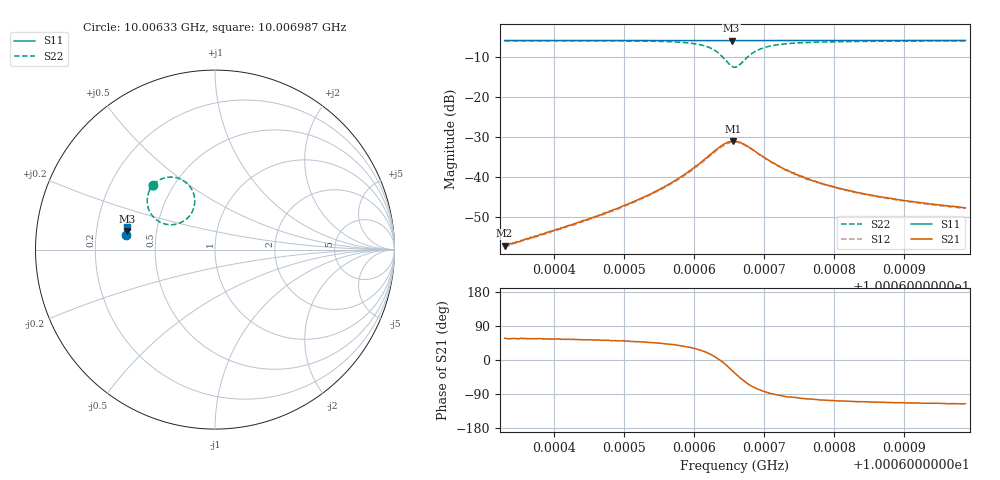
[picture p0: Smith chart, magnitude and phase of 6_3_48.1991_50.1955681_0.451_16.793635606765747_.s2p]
#  HZ  S  RI  R  50.00
! Rohde & Schwarz Vector Network Analyzer
! Rohde-Schwarz,ZNB20-2Port,1311601062101988,3.16
! Created: UTC 3/20/2024, 11:36:15 AM
! freq[Hz]  re:S11  im:S11  re:S21  im:S21  re:S12  im:S12  re:S22  im:S22
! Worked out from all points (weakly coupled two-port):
!   401 points, 10.00633 GHz to 10.006987 GHz, reference 50 ohm
!   highest |S21| = -31.08 dB at 10.006655 GHz (marker M1); lowest = -57.2 dB at 10.00633 GHz (marker M2)
!   lowest |S11| = -6.0 dB at 10.006653 GHz (marker M3), VSWR 3.00, Z = 16.8 + j4.65 ohm
!   |S11| at or under -10 dB: nowhere
!   |S22| runs from -12.7 to -6.0 dB; largest |S21 - S12| = 0.0022
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1.00063299e10  -0.4954 0.0835  0.000748 0.00117  0.000703 0.00117  -0.3449 0.3624
1.000644e10  -0.4943 0.0908  0.00167 0.00227  0.00151 0.00228  -0.3292 0.3758
1.00064909e10  -0.4936 0.0943  0.00257 0.00312  0.00233 0.00319  -0.3162 0.3843
1.000655e10  -0.4928 0.0982  0.00492 0.00483  0.00459 0.00495  -0.2874 0.3975
1.00065845e10  -0.4922 0.1007  0.00843 0.0062  0.00786 0.00643  -0.251 0.404
1.00066174e10  -0.491 0.1029  0.0161 0.006  0.0151 0.00653  -0.1785 0.3857
1.00066289e10  -0.4903 0.1036  0.0207 0.00347  0.0196 0.0045  -0.1423 0.3548
1.00066404e10  -0.4896 0.1038  0.0248 -0.00207  0.0241 -0.000701  -0.1147 0.295
1.00066469e10  -0.4894 0.1038  0.0258 -0.00692  0.0254 -0.00515  -0.1147 0.2483
1.00066535e10  -0.4892 0.1035  0.0249 -0.0124  0.0249 -0.0104  -0.1332 0.2003
1.00066551e10  -0.4892 0.1036  0.0243 -0.0138  0.0245 -0.0116  -0.1409 0.1895
1.00066584e10  -0.4893 0.1034  0.0228 -0.016  0.0233 -0.0141  -0.1592 0.1702
1.00066633e10  -0.4895 0.1033  0.0198 -0.0188  0.0207 -0.017  -0.1921 0.1497
1.00066732e10  -0.49 0.1036  0.0133 -0.0212  0.0142 -0.0201  -0.2599 0.1393
1.00066847e10  -0.4904 0.1043  0.00678 -0.0205  0.00803 -0.0197  -0.3184 0.1604
1.00066995e10  -0.491 0.1055  0.00219 -0.0174  0.00314 -0.0172  -0.3565 0.1989
1.00067307e10  -0.491 0.1078  -0.00139 -0.0122  -0.000709 -0.0121  -0.3773 0.2585
1.00067685e10  -0.4906 0.1107  -0.00202 -0.00876  -0.00161 -0.00877  -0.3758 0.2948
1.00068095e10  -0.4903 0.1133  -0.00221 -0.00678  -0.00185 -0.00675  -0.37 0.3163
1.00068785e10  -0.4894 0.118  -0.00206 -0.00502  -0.00177 -0.00503  -0.3612 0.3357
1.00069327e10  -0.4887 0.1215  -0.00191 -0.00425  -0.0017 -0.00422  -0.3556 0.3453
1.00069869e10  -0.488 0.1249  -0.00177 -0.00372  -0.00158 -0.00375  -0.3508 0.3523
